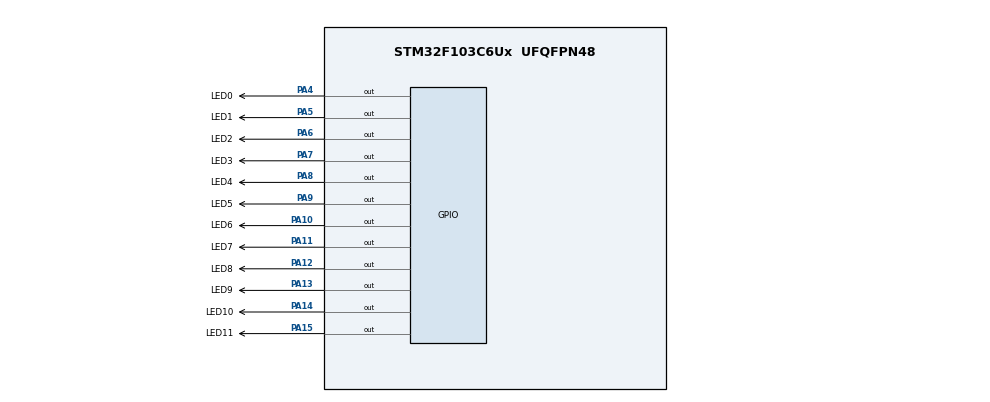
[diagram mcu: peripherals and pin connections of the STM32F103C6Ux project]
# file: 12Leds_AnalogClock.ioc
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Mcu.Family=STM32F1
Mcu.Name=STM32F103C6Ux
Mcu.Package=UFQFPN48
NVIC.PriorityGroup=NVIC_PRIORITYGROUP_4
PA10.GPIO_Label=LED6
PA10.Signal=GPIO_Output
PA11.GPIO_Label=LED7
PA11.Signal=GPIO_Output
PA12.GPIO_Label=LED8
PA12.Signal=GPIO_Output
PA13.GPIO_Label=LED9
PA13.Signal=GPIO_Output
PA14.GPIO_Label=LED10
PA14.Signal=GPIO_Output
PA15.GPIO_Label=LED11
PA15.Signal=GPIO_Output
PA4.GPIO_Label=LED0
PA4.Signal=GPIO_Output
PA5.GPIO_Label=LED1
PA5.Signal=GPIO_Output
PA6.GPIO_Label=LED2
PA6.Signal=GPIO_Output
PA7.GPIO_Label=LED3
PA7.Signal=GPIO_Output
PA8.GPIO_Label=LED4
PA8.Signal=GPIO_Output
PA9.GPIO_Label=LED5
PA9.Signal=GPIO_Output
ProjectManager.HeapSize=0x200
ProjectManager.StackSize=0x400
ProjectManager.TargetToolchain=STM32CubeIDE
RCC.APB1Freq_Value=8000000
RCC.APB2Freq_Value=8000000
VP_SYS_VS_ND.Mode=No_Debug
board=custom

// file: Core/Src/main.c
/* USER CODE BEGIN Header */
/**
  ******************************************************************************
  * @file           : main.c
  * @brief          : Main program body
  ******************************************************************************
  * @attention
  *
  * <h2><center>&copy; Copyright (c) 2025 STMicroelectronics.
  * All rights reserved.</center></h2>
  *
  * This software component is licensed by ST under BSD 3-Clause license,
  * the "License"; You may not use this file except in compliance with the
  * License. You may obtain a copy of the License at:
  *                        opensource.org/licenses/BSD-3-Clause
  *
  ******************************************************************************
  */
/* USER CODE END Header */
#include "main.h"

/* USER CODE BEGIN PV */
  uint16_t ledPins[12] = {
		  GPIO_PIN_4,
		  GPIO_PIN_5,
		  GPIO_PIN_6,
		  GPIO_PIN_7,
		  GPIO_PIN_8,
		  GPIO_PIN_9,
		  GPIO_PIN_10,
		  GPIO_PIN_11,
		  GPIO_PIN_12,
		  GPIO_PIN_13,
		  GPIO_PIN_14,
		  GPIO_PIN_15,
  };
/* USER CODE END PV */

void SystemClock_Config(void);
static void MX_GPIO_Init(void);
/* USER CODE BEGIN PFP */
void clearAllClock()
{
	  for (int i = 0;  i < 12; i++)
	  {
		  HAL_GPIO_WritePin(GPIOA, ledPins[i], RESET);
	  }
}
void setNumberOnClock(int num)
{
	  if (num >= 0 && num <= 11)
	  {
		  HAL_GPIO_WritePin(GPIOA, ledPins[num], SET);
	  }
}
void clearNumberOnClock(int num)
{
	  if (num >= 0 && num <= 11)
	  {
		  HAL_GPIO_WritePin(GPIOA, ledPins[num], RESET);
	  }
}
/* USER CODE END PFP */

int main(void)
{

  /* MCU Configuration--------------------------------------------------------*/

  /* Reset of all peripherals, Initializes the Flash interface and the Systick. */
  HAL_Init();

  /* Configure the system clock */
  SystemClock_Config();

  /* Initialize all configured peripherals */
  MX_GPIO_Init();

  /* Infinite loop */
  /* USER CODE BEGIN WHILE */
  int hour = 0, minute = 0, second = 0;
  int prev_hour = -1, prev_minute = -1, prev_second = -1;
  int curr_hour, curr_minute, curr_second;
  clearAllClock();
  while (1)
  {
	  curr_hour   = hour;
	  curr_minute = minute / 5;
	  curr_second = second / 5;

	  if (curr_second != prev_second)
	  {
		  if (prev_second != -1
		   && prev_second != curr_minute
		   && prev_second != curr_hour)
		  {
			  clearNumberOnClock(prev_second);
		  }
		  setNumberOnClock(curr_second);
		  prev_second = curr_second;
	  }
	  if (curr_minute != prev_minute)
	  {
		  if (prev_minute != -1
		   && prev_minute != curr_second
		   && prev_minute != curr_hour)
		  {
			  clearNumberOnClock(prev_minute);
		  }
		  setNumberOnClock(curr_minute);
		  prev_minute = curr_minute;
	  }
	  if (curr_hour != prev_hour)
	  {
		  if (prev_hour != -1
		   && prev_hour != curr_minute
		   && prev_hour != curr_second)
		  {
			  clearNumberOnClock(prev_hour);
		  }
		  setNumberOnClock(curr_hour);
		  prev_hour = curr_hour;
	  }

      second++;
      if (second == 60)
      {
          second = 0;
          minute++;
      }
      if (minute == 60)
      {
          minute = 0;
          hour++;
      }
      if (hour == 12)
      {
          hour = 0;
      }
      HAL_Delay(100);
    /* USER CODE END WHILE */

  }
}

void SystemClock_Config(void)
{
  RCC_OscInitTypeDef RCC_OscInitStruct = {0};
  RCC_ClkInitTypeDef RCC_ClkInitStruct = {0};

  /** Initializes the RCC Oscillators according to the specified parameters
  * in the RCC_OscInitTypeDef structure.
  */
  RCC_OscInitStruct.OscillatorType = RCC_OSCILLATORTYPE_HSI;
  RCC_OscInitStruct.HSIState = RCC_HSI_ON;
  RCC_OscInitStruct.HSICalibrationValue = RCC_HSICALIBRATION_DEFAULT;
  RCC_OscInitStruct.PLL.PLLState = RCC_PLL_NONE;
  if (HAL_RCC_OscConfig(&RCC_OscInitStruct) != HAL_OK)
  {
    Error_Handler();
  }
  /** Initializes the CPU, AHB and APB buses clocks
  */
  RCC_ClkInitStruct.ClockType = RCC_CLOCKTYPE_HCLK|RCC_CLOCKTYPE_SYSCLK
                              |RCC_CLOCKTYPE_PCLK1|RCC_CLOCKTYPE_PCLK2;
  RCC_ClkInitStruct.SYSCLKSource = RCC_SYSCLKSOURCE_HSI;
  RCC_ClkInitStruct.AHBCLKDivider = RCC_SYSCLK_DIV1;
  RCC_ClkInitStruct.APB1CLKDivider = RCC_HCLK_DIV1;
  RCC_ClkInitStruct.APB2CLKDivider = RCC_HCLK_DIV1;

  if (HAL_RCC_ClockConfig(&RCC_ClkInitStruct, FLASH_LATENCY_0) != HAL_OK)
  {
    Error_Handler();
  }
}

static void MX_GPIO_Init(void)
{
  GPIO_InitTypeDef GPIO_InitStruct = {0};

  /* GPIO Ports Clock Enable */
  __HAL_RCC_GPIOA_CLK_ENABLE();

  /*Configure GPIO pin Output Level */
  HAL_GPIO_WritePin(GPIOA, LED0_Pin|LED1_Pin|LED2_Pin|LED3_Pin
                          |LED4_Pin|LED5_Pin|LED6_Pin|LED7_Pin
                          |LED8_Pin|LED9_Pin|LED10_Pin|LED11_Pin, GPIO_PIN_RESET);

  /*Configure GPIO pins : LED0_Pin LED1_Pin LED2_Pin LED3_Pin
                           LED4_Pin LED5_Pin LED6_Pin LED7_Pin
                           LED8_Pin LED9_Pin LED10_Pin LED11_Pin */
  GPIO_InitStruct.Pin = LED0_Pin|LED1_Pin|LED2_Pin|LED3_Pin
                          |LED4_Pin|LED5_Pin|LED6_Pin|LED7_Pin
                          |LED8_Pin|LED9_Pin|LED10_Pin|LED11_Pin;
  GPIO_InitStruct.Mode = GPIO_MODE_OUTPUT_PP;
  GPIO_InitStruct.Pull = GPIO_NOPULL;
  GPIO_InitStruct.Speed = GPIO_SPEED_FREQ_LOW;
  HAL_GPIO_Init(GPIOA, &GPIO_InitStruct);

}

void Error_Handler(void)
{
  __disable_irq();
  while (1)
  {
  }
}

/************************ (C) COPYRIGHT STMicroelectronics *****END OF FILE****/
